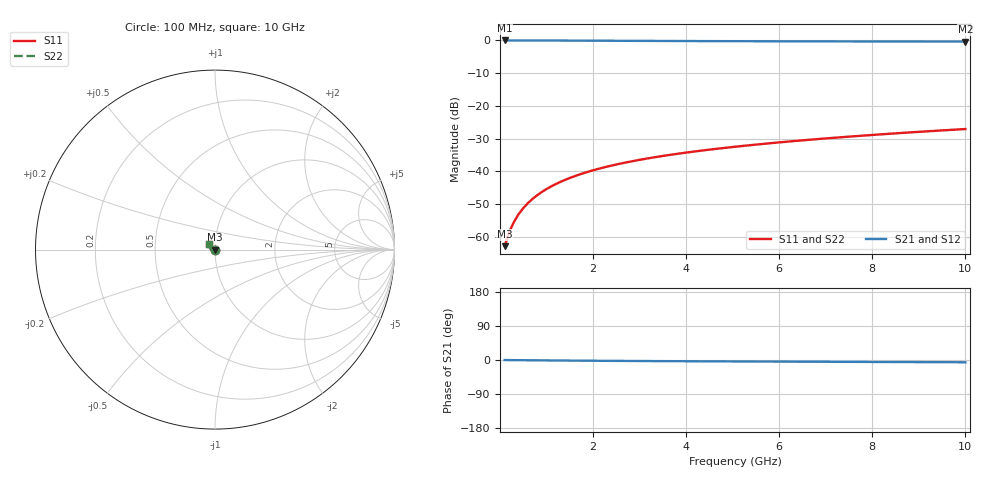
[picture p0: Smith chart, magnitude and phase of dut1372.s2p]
! Touchstone file exported from HFSS 2024.1.0
!  File:  C:/UserFiles/LocalFiles/RDL_TSV_Batchsim/temp_TSV1_1372_1780379309.aedt
!  Generated:  01:56:42 PM Jun  2, 2026
!  Design:  TSV1
!  Project:  temp_TSV1_1372_1780379309
!  Setup:  Setup1
!  Solution:  Sweep
! Variables:
!  dtsv = 5.51um
!  hbump = 3um
!  htsv = 86.76um
!  lrdl = 252.1521522um
!  p = 40
!  p1 = 54.4um
!  t = 500um
!  trdl = 3um
!  wrdl = 24.89489489um
# GHz S MA R 50.000000
! Terminal data exported
! Port[1] = TSV22_T1
! Port[2] = TSV22_T2
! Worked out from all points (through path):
!   100 points, 100 MHz to 10 GHz, reference 50 ohm
!   highest |S21| = 0.00 dB at 100 MHz (marker M1); lowest = -0.3 dB at 10 GHz (marker M2)
!   lowest |S11| = -62.9 dB at 100 MHz (marker M3), VSWR 1.00, Z = 50 - j0.0551 ohm
!   |S11| at or under -10 dB: start of sweep to end of sweep
!   |S22| runs from -62.9 to -27.1 dB; largest |S21 - S12| = 5.7e-15
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0.1  0.0007189 -50.0  0.9995 -0.1  0.9995 -0.1  0.0007189 -50.0
! Gamma 0 0 0 0
! Port Impedance 50 0 50 0
0.2  0.001181 -70.6  0.9994 -0.2  0.9994 -0.2  0.001181 -70.6
0.3  0.001689 -80.8  0.9993 -0.3  0.9993 -0.3  0.001689 -80.8
0.4  0.00221 -87.5  0.9991 -0.4  0.9991 -0.4  0.00221 -87.5
0.5  0.002737 -92.6  0.9989 -0.5  0.9989 -0.5  0.002737 -92.6
0.6  0.003265 -96.8  0.9986 -0.7  0.9986 -0.7  0.003265 -96.8
0.7  0.003792 -100.6  0.9983 -0.8  0.9983 -0.8  0.003792 -100.6
0.8  0.004318 -104.1  0.9979 -0.9  0.9979 -0.9  0.004318 -104.1
0.9  0.004841 -107.3  0.9975 -1.0  0.9975 -1.0  0.004841 -107.3
1.1  0.00588 -113.3  0.9966 -1.2  0.9966 -1.2  0.00588 -113.3
1.4  0.007411 -121.5  0.9951 -1.5  0.9951 -1.5  0.007411 -121.5
1.6  0.008413 -126.6  0.9939 -1.6  0.9939 -1.6  0.008413 -126.6
1.8  0.009398 -131.5  0.9927 -1.8  0.9927 -1.8  0.009398 -131.5
2.1  0.01085 -138.4  0.9907 -2.1  0.9907 -2.1  0.01085 -138.4
2.5  0.01272 -147.0  0.9881 -2.4  0.9881 -2.4  0.01272 -147.0
2.9  0.01454 -154.9  0.9855 -2.6  0.9855 -2.6  0.01454 -154.9
3.4  0.01675 -163.7  0.9823 -2.9  0.9823 -2.9  0.01675 -163.7
4.2  0.02018 -176.1  0.9779 -3.4  0.9779 -3.4  0.02018 -176.1
5.1  0.02395 172.4  0.9738 -3.8  0.9738 -3.8  0.02395 172.4
6.7  0.03058 156.5  0.9683 -4.5  0.9683 -4.5  0.03058 156.5
8.4  0.03762 144.2  0.9643 -5.3  0.9643 -5.3  0.03762 144.2
10  0.04429 135.4  0.9616 -6.0  0.9616 -6.0  0.04429 135.4
